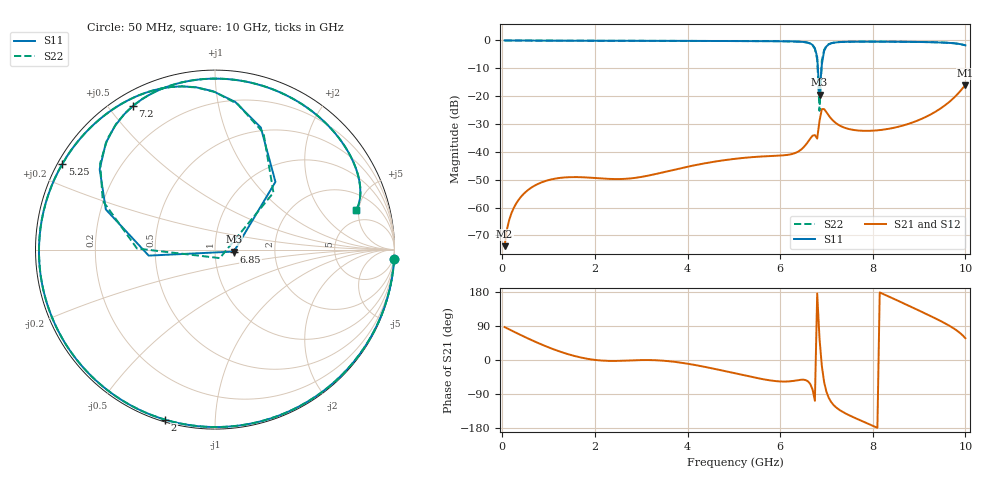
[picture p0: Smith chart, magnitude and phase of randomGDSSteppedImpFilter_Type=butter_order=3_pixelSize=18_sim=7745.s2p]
! freq	dB(S11)	phase(S11)	dB(S12)	phase(S12)
!  dB(S21)	phase(S21)	dB(S22)	phase(S22)
!S-par simulation data
#  GHz  S  DB  R 50
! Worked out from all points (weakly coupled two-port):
!   200 points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, 50 MHz to 10 GHz, reference 50 ohm
!   highest |S21| = -16.09 dB at 10 GHz (marker M1); lowest = -73.9 dB at 50 MHz (marker M2)
!   lowest |S11| = -19.5 dB at 6.85 GHz (marker M3), VSWR 1.24, Z = 61.7 - j1.38 ohm
!   |S11| at or under -10 dB: 6.815 GHz to 6.894 GHz (78.62 MHz wide, 1.15 % of centre)
!   |S22| runs from -25.3 to 0.0 dB; largest |S21 - S12| = 0
!   S11 on the Smith chart (normalised r, x): 50 MHz: 0, -37; 2 GHz: 0.01, -0.75; 5.25 GHz: 0.01, +0.26; 6.85 GHz: 1.23, -0.03; 7.2 GHz: 0.05, +0.58; 10 GHz: 3.51, +4.71
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0.05  -0.00 -3.1  -73.88 86.9  -73.88 86.9  -0.00 -3.1
0.1  -0.01 -6.2  -67.88 83.8  -67.88 83.8  -0.01 -6.2
0.2  -0.02 -12.3  -61.94 77.7  -61.94 77.7  -0.02 -12.3
0.5  -0.04 -30.3  -54.49 60.0  -54.49 60.0  -0.04 -30.3
1.1  -0.08 -63.9  -49.75 28.6  -49.75 28.6  -0.08 -63.9
1.75  -0.10 -95.5  -49.14 5.2  -49.14 5.2  -0.10 -95.5
2  -0.11 -106.3  -49.40 0.2  -49.40 0.2  -0.11 -106.3
3.4  -0.14 -156.2  -47.63 -1.2  -47.63 -1.2  -0.14 -156.2
5.05  -0.20 156.2  -42.46 -35.9  -42.46 -35.9  -0.20 156.3
5.25  -0.22 150.6  -42.12 -41.3  -42.12 -41.3  -0.22 150.6
6.3  -0.37 116.3  -40.58 -55.0  -40.58 -55.0  -0.37 116.3
6.55  -0.65 101.5  -37.54 -53.0  -37.54 -53.0  -0.66 101.2
6.7  -1.61 82.2  -34.20 -77.7  -34.20 -77.7  -1.72 81.1
6.8  -5.92 48.3  -35.24 175.4  -35.24 175.4  -6.85 44.3
6.85  -19.51 -6.0  -28.85 56.6  -28.85 56.6  -25.28 -60.5
6.9  -8.61 -174.8  -24.67 -15.4  -24.67 -15.4  -7.24 179.2
6.95  -3.77 159.8  -24.65 -58.7  -24.65 -58.7  -3.33 156.5
7.05  -1.41 135.7  -26.99 -100.0  -26.99 -100.0  -1.31 134.3
7.2  -0.71 119.8  -29.62 -124.2  -29.62 -124.2  -0.69 119.2
8.35  -0.44 73.7  -31.71 167.3  -31.71 167.3  -0.44 73.6
9.3  -0.64 42.0  -26.11 112.9  -26.11 112.9  -0.64 42.0
10  -1.74 15.7  -16.09 57.5  -16.09 57.5  -1.74 15.6
